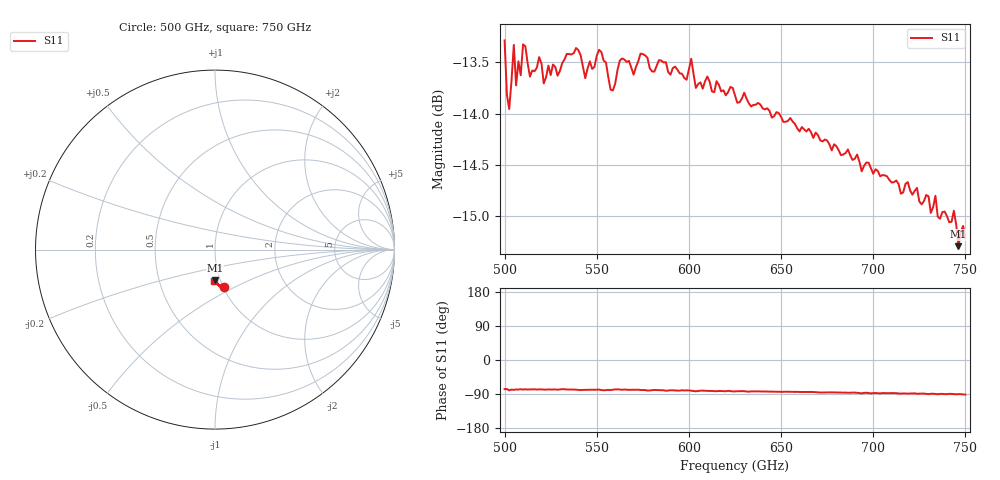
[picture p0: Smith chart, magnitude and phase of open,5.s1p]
!Created with mwavepy.
# GHz S RI R 50.0
!freq	ReS11	ImS11
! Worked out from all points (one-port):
!   201 points, 500 GHz to 750 GHz, reference 50 ohm
!   lowest |S11| = -15.3 dB at 746.2 GHz (marker M1), VSWR 1.42, Z = 47.2 - j16.7 ohm
!   |S11| at or under -10 dB: start of sweep to end of sweep
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500  0.0493 -0.2109
! Port Impedance 50.00000000000000 0.00000000000000
501.25  0.0468 -0.1983
502.5  0.0345 -0.1976
505  0.0414 -0.2115
506.25  0.0441 -0.2012
507.5  0.0439 -0.207
508.75  0.0463 -0.2031
510  0.0446 -0.211
513.75  0.0446 -0.2032
518.75  0.0462 -0.2075
521.25  0.042 -0.2021
531.25  0.0475 -0.2057
538.75  0.0436 -0.2103
543.75  0.0402 -0.2037
551.25  0.0441 -0.2098
558.75  0.041 -0.2006
562.5  0.0444 -0.2071
593.75  0.0335 -0.2069
598.75  0.0356 -0.2042
601.25  0.0329 -0.2097
603.75  0.0267 -0.2036
625  0.0257 -0.202
656.25  0.0202 -0.1967
687.5  0.0119 -0.19
718.75  0.00404 -0.1847
743.75  0.000406 -0.1789
746.25  0.000224 -0.1719
750  -0.00388 -0.1735
